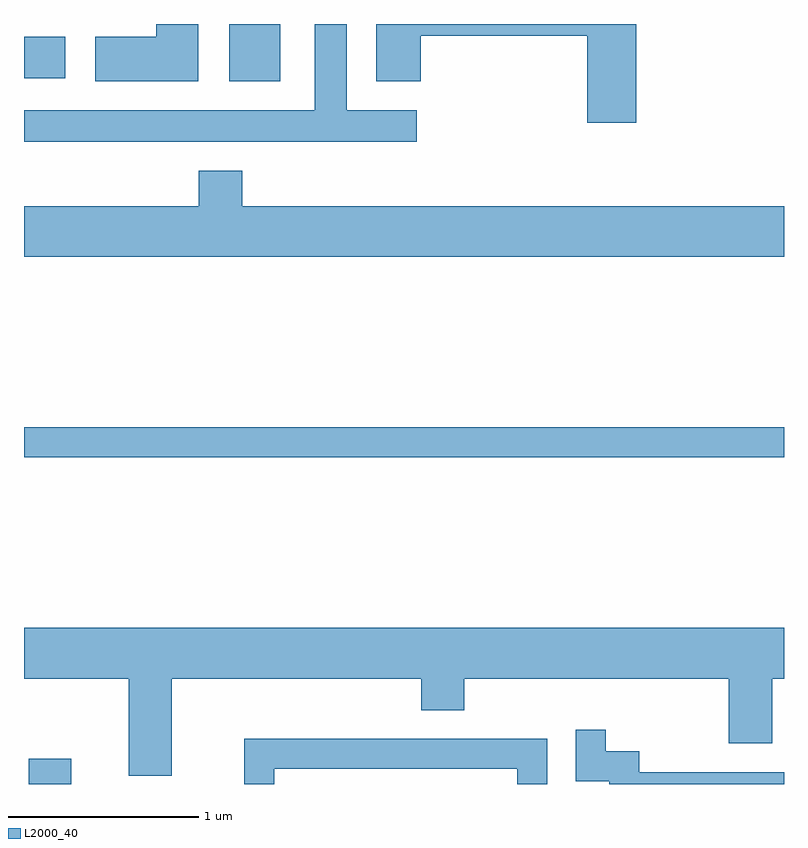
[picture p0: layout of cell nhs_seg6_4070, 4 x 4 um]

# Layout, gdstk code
import gdstk
lib = gdstk.Library(unit=1e-6, precision=1e-09)
def R(c, l, rs):  # rectangles x0, y0, x1, y1
    for r in rs: c.add(gdstk.rectangle(r[:2], r[2:], *l))
def P(c, l, *ps):  # polygons
    for p in ps: c.add(gdstk.Polygon(p, *l))
L2000_40 = (2000, 40)

nhs_seg6_4070 = lib.new_cell('nhs_seg6_4070')
R(nhs_seg6_4070, L2000_40, [(309.636,1536.162,309.859,1536.294), (309.611,1537.881,313.611,1538.039), (310.691,1539.861,310.959,1540.162), (309.611,1539.876,309.829,1540.094)])
P(nhs_seg6_4070, L2000_40, [(310.529,1540.162),(310.306,1540.162),(310.306,1540.094),(309.986,1540.094),(309.986,1539.861),(310.529,1539.861)],
  [(312.834,1540.162),(311.466,1540.162),(311.466,1539.861),(311.699,1539.861),(311.699,1540.101),(312.576,1540.101),(312.576,1539.641),(312.834,1539.641)],
  [(311.678,1539.709),(311.309,1539.709),(311.309,1540.162),(311.141,1540.162),(311.141,1539.709),(309.611,1539.709),(309.611,1539.541),(311.678,1539.541)],
  [(313.611,1539.204),(310.759,1539.204),(310.759,1539.389),(310.531,1539.389),(310.531,1539.204),(309.611,1539.204),(309.611,1538.936),(313.611,1538.936)],
  [(310.389,1536.716),(311.701,1536.716),(311.701,1536.551),(311.929,1536.551),(311.929,1536.716),(313.321,1536.716),(313.321,1536.376),(313.549,1536.376),(313.549,1536.716),(313.611,1536.716),(313.611,1536.984),(309.611,1536.984),(309.611,1536.716),(310.161,1536.716),(310.161,1536.206),(310.389,1536.206)],
  [(313.611,1536.224),(312.849,1536.224),(312.849,1536.334),(312.674,1536.334),(312.674,1536.448),(312.516,1536.448),(312.516,1536.176),(312.691,1536.176),(312.691,1536.162),(313.611,1536.162)],
  [(310.929,1536.241),(312.206,1536.241),(312.206,1536.162),(312.364,1536.162),(312.364,1536.399),(310.771,1536.399),(310.771,1536.162),(310.929,1536.162)])

lib.write_gds('nhs_seg6_4070.gds')
